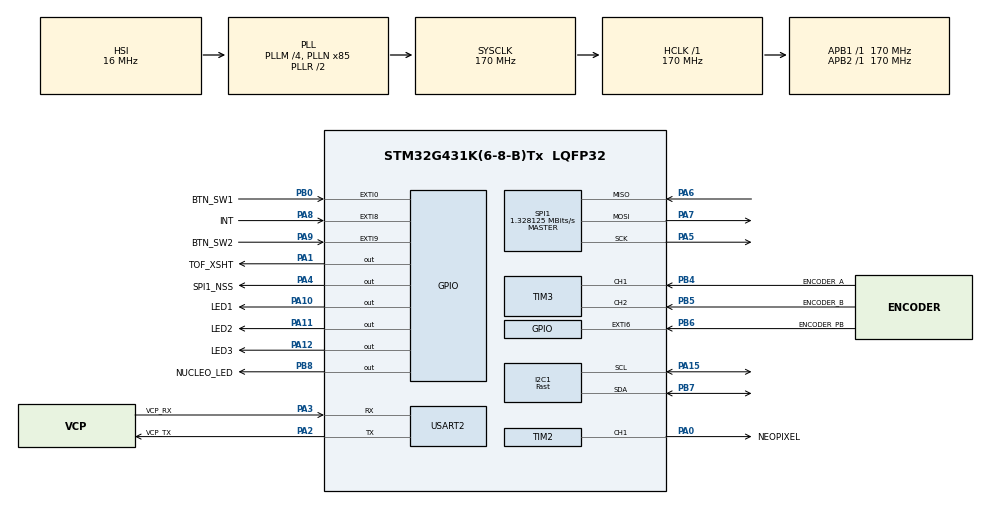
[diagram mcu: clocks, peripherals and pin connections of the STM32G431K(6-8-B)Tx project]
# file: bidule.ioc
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Dma.I2C1_TX.1.Direction=DMA_MEMORY_TO_PERIPH
Dma.I2C1_TX.1.EventEnable=DISABLE
Dma.I2C1_TX.1.Instance=DMA1_Channel2
Dma.I2C1_TX.1.MemDataAlignment=DMA_MDATAALIGN_BYTE
Dma.I2C1_TX.1.MemInc=DMA_MINC_ENABLE
Dma.I2C1_TX.1.Mode=DMA_NORMAL
Dma.I2C1_TX.1.PeriphDataAlignment=DMA_PDATAALIGN_BYTE
Dma.I2C1_TX.1.PeriphInc=DMA_PINC_DISABLE
Dma.I2C1_TX.1.Polarity=HAL_DMAMUX_REQ_GEN_RISING
Dma.I2C1_TX.1.Priority=DMA_PRIORITY_LOW
Dma.I2C1_TX.1.RequestNumber=1
Dma.I2C1_TX.1.SignalID=NONE
Dma.I2C1_TX.1.SyncEnable=DISABLE
Dma.I2C1_TX.1.SyncPolarity=HAL_DMAMUX_SYNC_NO_EVENT
Dma.I2C1_TX.1.SyncRequestNumber=1
Dma.I2C1_TX.1.SyncSignalID=NONE
Dma.Request0=TIM2_CH1
Dma.Request1=I2C1_TX
Dma.TIM2_CH1.0.Direction=DMA_MEMORY_TO_PERIPH
Dma.TIM2_CH1.0.EventEnable=DISABLE
Dma.TIM2_CH1.0.Instance=DMA1_Channel1
Dma.TIM2_CH1.0.MemDataAlignment=DMA_MDATAALIGN_BYTE
Dma.TIM2_CH1.0.MemInc=DMA_MINC_ENABLE
Dma.TIM2_CH1.0.Mode=DMA_CIRCULAR
Dma.TIM2_CH1.0.PeriphDataAlignment=DMA_PDATAALIGN_WORD
Dma.TIM2_CH1.0.PeriphInc=DMA_PINC_DISABLE
Dma.TIM2_CH1.0.Polarity=HAL_DMAMUX_REQ_GEN_RISING
Dma.TIM2_CH1.0.Priority=DMA_PRIORITY_LOW
Dma.TIM2_CH1.0.RequestNumber=1
Dma.TIM2_CH1.0.SignalID=NONE
Dma.TIM2_CH1.0.SyncEnable=DISABLE
Dma.TIM2_CH1.0.SyncPolarity=HAL_DMAMUX_SYNC_NO_EVENT
Dma.TIM2_CH1.0.SyncRequestNumber=1
Dma.TIM2_CH1.0.SyncSignalID=NONE
I2C1.I2C_Speed_Mode=I2C_Fast
I2C1.Timing=0x40621236
Mcu.Family=STM32G4
Mcu.Name=STM32G431K(6-8-B)Tx
Mcu.Package=LQFP32
NVIC.DMA1_Channel1_IRQn=true\:0\:0\:false\:false\:true\:false\:true\:true
NVIC.DMA1_Channel2_IRQn=true\:0\:0\:false\:false\:true\:false\:true\:true
NVIC.EXTI0_IRQn=true\:0\:0\:false\:false\:true\:true\:true\:true
NVIC.EXTI9_5_IRQn=true\:0\:0\:false\:false\:true\:true\:true\:true
NVIC.I2C1_ER_IRQn=true\:0\:0\:false\:false\:true\:true\:true\:true
NVIC.I2C1_EV_IRQn=true\:0\:0\:false\:false\:true\:true\:true\:true
NVIC.PriorityGroup=NVIC_PRIORITYGROUP_4
NVIC.TIM2_IRQn=true\:0\:0\:false\:false\:true\:true\:true\:true
PA0.GPIO_Label=NEOPIXEL
PA0.Signal=S_TIM2_CH1
PA1.GPIO_Label=TOF_XSHT
PA1.Signal=GPIO_Output
PA10.GPIO_Label=LED1
PA10.Signal=GPIO_Output
PA11.GPIO_Label=LED2
PA11.Signal=GPIO_Output
PA12.GPIO_Label=LED3
PA12.Signal=GPIO_Output
PA13.GPIO_Label=T_SWDIO
PA13.Mode=Trace_Asynchronous_SW
PA13.Signal=SYS_JTMS-SWDIO
PA14.GPIO_Label=T_SWCLK
PA14.Mode=Trace_Asynchronous_SW
PA14.Signal=SYS_JTCK-SWCLK
PA15.GPIO_Pu=GPIO_PULLUP
PA15.Mode=I2C
PA15.Signal=I2C1_SCL
PA2.GPIO_Label=VCP_TX
PA2.Mode=Asynchronous
PA2.Signal=USART2_TX
PA3.GPIO_Label=VCP_RX
PA3.Mode=Asynchronous
PA3.Signal=USART2_RX
PA4.GPIO_Label=SPI1_NSS
PA4.PinState=GPIO_PIN_SET
PA4.Signal=GPIO_Output
PA5.GPIO_Speed=GPIO_SPEED_FREQ_LOW
PA5.Mode=Full_Duplex_Master
PA5.Signal=SPI1_SCK
PA6.GPIO_Speed=GPIO_SPEED_FREQ_LOW
PA6.Mode=Full_Duplex_Master
PA6.Signal=SPI1_MISO
PA7.GPIO_Speed=GPIO_SPEED_FREQ_LOW
PA7.Mode=Full_Duplex_Master
PA7.Signal=SPI1_MOSI
PA8.GPIO_Label=INT
PA8.Signal=GPXTI8
PA9.GPIO_Label=BTN_SW2
PA9.GPIO_ModeDefaultEXTI=GPIO_MODE_IT_FALLING
PA9.GPIO_PuPd=GPIO_PULLUP
PA9.Signal=GPXTI9
PB0.GPIO_Label=BTN_SW1
PB0.GPIO_ModeDefaultEXTI=GPIO_MODE_IT_FALLING
PB0.GPIO_PuPd=GPIO_PULLUP
PB0.Signal=GPXTI0
PB3.GPIO_Label=T_SWO
PB3.Mode=Trace_Asynchronous_SW
PB3.Signal=SYS_JTDO-SWO
PB4.GPIO_Label=ENCODER_A
PB4.GPIO_PuPd=GPIO_PULLUP
PB4.Signal=S_TIM3_CH1
PB5.GPIO_Label=ENCODER_B
PB5.GPIO_PuPd=GPIO_PULLUP
PB5.Signal=S_TIM3_CH2
PB6.GPIO_Label=ENCODER_PB
PB6.GPIO_PuPd=GPIO_PULLUP
PB6.Signal=GPXTI6
PB7.GPIO_Pu=GPIO_PULLUP
PB7.Mode=I2C
PB7.Signal=I2C1_SDA
PB8-BOOT0.GPIO_Label=NUCLEO_LED
PB8-BOOT0.Signal=GPIO_Output
ProjectManager.HeapSize=0x200
ProjectManager.StackSize=0x400
ProjectManager.TargetToolchain=CMake
RCC.ADC12Freq_Value=170000000
RCC.AHBFreq_Value=170000000
RCC.APB1Freq_Value=170000000
RCC.APB1TimFreq_Value=170000000
RCC.APB2Freq_Value=170000000
RCC.APB2TimFreq_Value=170000000
RCC.CortexFreq_Value=170000000
RCC.EXTERNAL_CLOCK_VALUE=12288000
RCC.HCLKFreq_Value=170000000
RCC.HSE_VALUE=8000000
RCC.HSI48_VALUE=48000000
RCC.HSI_VALUE=16000000
RCC.LSE_VALUE=32768
RCC.PLLM=RCC_PLLM_DIV4
RCC.PLLN=85
RCC.SYSCLKFreq_VALUE=170000000
RCC.SYSCLKSource=RCC_SYSCLKSOURCE_PLLCLK
RCC.USBFreq_Value=170000000
RCC.VCOOutputFreq_Value=340000000
SH.S_TIM2_CH1.0=TIM2_CH1,PWM Generation1 CH1
SH.S_TIM3_CH1.0=TIM3_CH1,Encoder_Interface
SH.S_TIM3_CH2.0=TIM3_CH2,Encoder_Interface
SPI1.BaudRatePrescaler=SPI_BAUDRATEPRESCALER_128
SPI1.CLKPhase=SPI_PHASE_2EDGE
SPI1.CLKPolarity=SPI_POLARITY_HIGH
SPI1.CalculateBaudRate=1.328125 MBits/s
SPI1.DataSize=SPI_DATASIZE_8BIT
SPI1.Direction=SPI_DIRECTION_2LINES
SPI1.Mode=SPI_MODE_MASTER
SPI1.VirtualType=VM_MASTER
TIM2.Channel-PWM\ Generation1\ CH1=TIM_CHANNEL_1
TIM2.PeriodNoDither=212
USART2.VirtualMode-Asynchronous=VM_ASYNC
VP_SYS_VS_DBSignals.Mode=DisableDeadBatterySignals
board=NUCLEO-G431KB

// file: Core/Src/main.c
/* USER CODE BEGIN Header */
/**
 ******************************************************************************
 * @file           : main.c
 * @brief          : Main program body
 ******************************************************************************
 * @attention
 *
 * Copyright (c) 2026 STMicroelectronics.
 * All rights reserved.
 *
 * This software is licensed under terms that can be found in the LICENSE file
 * in the root directory of this software component.
 * If no LICENSE file comes with this software, it is provided AS-IS.
 *
 ******************************************************************************
 */
/* USER CODE END Header */
#include "main.h"
#include "dma.h"
#include "i2c.h"
#include "spi.h"
#include "tim.h"
#include "usart.h"
#include "gpio.h"

/* USER CODE BEGIN Includes */
#include <stdio.h>
#include <stdlib.h>
#include "shell.h"
/* USER CODE END Includes */

/* USER CODE BEGIN PM */
#define LED_BLINK_PERIOD 250
/* USER CODE END PM */

void SystemClock_Config(void);

/* USER CODE BEGIN 0 */
int _write(int file, char *ptr, int len) {
	HAL_UART_Transmit(&huart2, (uint8_t *)ptr, len, HAL_MAX_DELAY);
	return len;
}

int bidon (int argc, char ** argv)
{
	printf("Bonjour, je suis une fonction nulle\r\n");

	for (int i=0; i<argc;i++)
	{
		printf("argv[%d]=%s\r\n",i,argv[i]);
	}

	return 0;
}

int add (int argc, char ** argv)
{
	int acc=0;
	for (int i=0; i<argc;i++)
	{
		//Convertir la chaine de caractère en entier
		int num=atoi(argv[i]);
		//Ajouter le nombre à acc
		acc+=num;
	}
	printf("%d\r\n",acc);
	return 0;
}
/* USER CODE END 0 */

int main(void)
{

	/* MCU Configuration--------------------------------------------------------*/

	/* Reset of all peripherals, Initializes the Flash interface and the Systick. */
	HAL_Init();

	/* Configure the system clock */
	SystemClock_Config();

	/* Initialize all configured peripherals */
	MX_GPIO_Init();
	MX_DMA_Init();
	MX_I2C1_Init();
	MX_TIM3_Init();
	MX_TIM2_Init();
	MX_USART2_UART_Init();
	MX_SPI1_Init();
	/* USER CODE BEGIN 2 */
	shell_init();
	shell_add('f', bidon, "Une fonction bidon");
	shell_add('a', add, "Addition");
	shell_run();

	/* USER CODE END 2 */

	/* Infinite loop */
	while (1) {

	}
}

void SystemClock_Config(void)
{
	RCC_OscInitTypeDef RCC_OscInitStruct = {0};
	RCC_ClkInitTypeDef RCC_ClkInitStruct = {0};

	/** Configure the main internal regulator output voltage
	 */
	HAL_PWREx_ControlVoltageScaling(PWR_REGULATOR_VOLTAGE_SCALE1_BOOST);

	/** Initializes the RCC Oscillators according to the specified parameters
	 * in the RCC_OscInitTypeDef structure.
	 */
	RCC_OscInitStruct.OscillatorType = RCC_OSCILLATORTYPE_HSI;
	RCC_OscInitStruct.HSIState = RCC_HSI_ON;
	RCC_OscInitStruct.HSICalibrationValue = RCC_HSICALIBRATION_DEFAULT;
	RCC_OscInitStruct.PLL.PLLState = RCC_PLL_ON;
	RCC_OscInitStruct.PLL.PLLSource = RCC_PLLSOURCE_HSI;
	RCC_OscInitStruct.PLL.PLLM = RCC_PLLM_DIV4;
	RCC_OscInitStruct.PLL.PLLN = 85;
	RCC_OscInitStruct.PLL.PLLP = RCC_PLLP_DIV2;
	RCC_OscInitStruct.PLL.PLLQ = RCC_PLLQ_DIV2;
	RCC_OscInitStruct.PLL.PLLR = RCC_PLLR_DIV2;
	if (HAL_RCC_OscConfig(&RCC_OscInitStruct) != HAL_OK)
	{
		Error_Handler();
	}

	/** Initializes the CPU, AHB and APB buses clocks
	 */
	RCC_ClkInitStruct.ClockType = RCC_CLOCKTYPE_HCLK|RCC_CLOCKTYPE_SYSCLK
			|RCC_CLOCKTYPE_PCLK1|RCC_CLOCKTYPE_PCLK2;
	RCC_ClkInitStruct.SYSCLKSource = RCC_SYSCLKSOURCE_PLLCLK;
	RCC_ClkInitStruct.AHBCLKDivider = RCC_SYSCLK_DIV1;
	RCC_ClkInitStruct.APB1CLKDivider = RCC_HCLK_DIV1;
	RCC_ClkInitStruct.APB2CLKDivider = RCC_HCLK_DIV1;

	if (HAL_RCC_ClockConfig(&RCC_ClkInitStruct, FLASH_LATENCY_4) != HAL_OK)
	{
		Error_Handler();
	}
}

void Error_Handler(void)
{
	__disable_irq();
	while (1)
	{
	}
}
